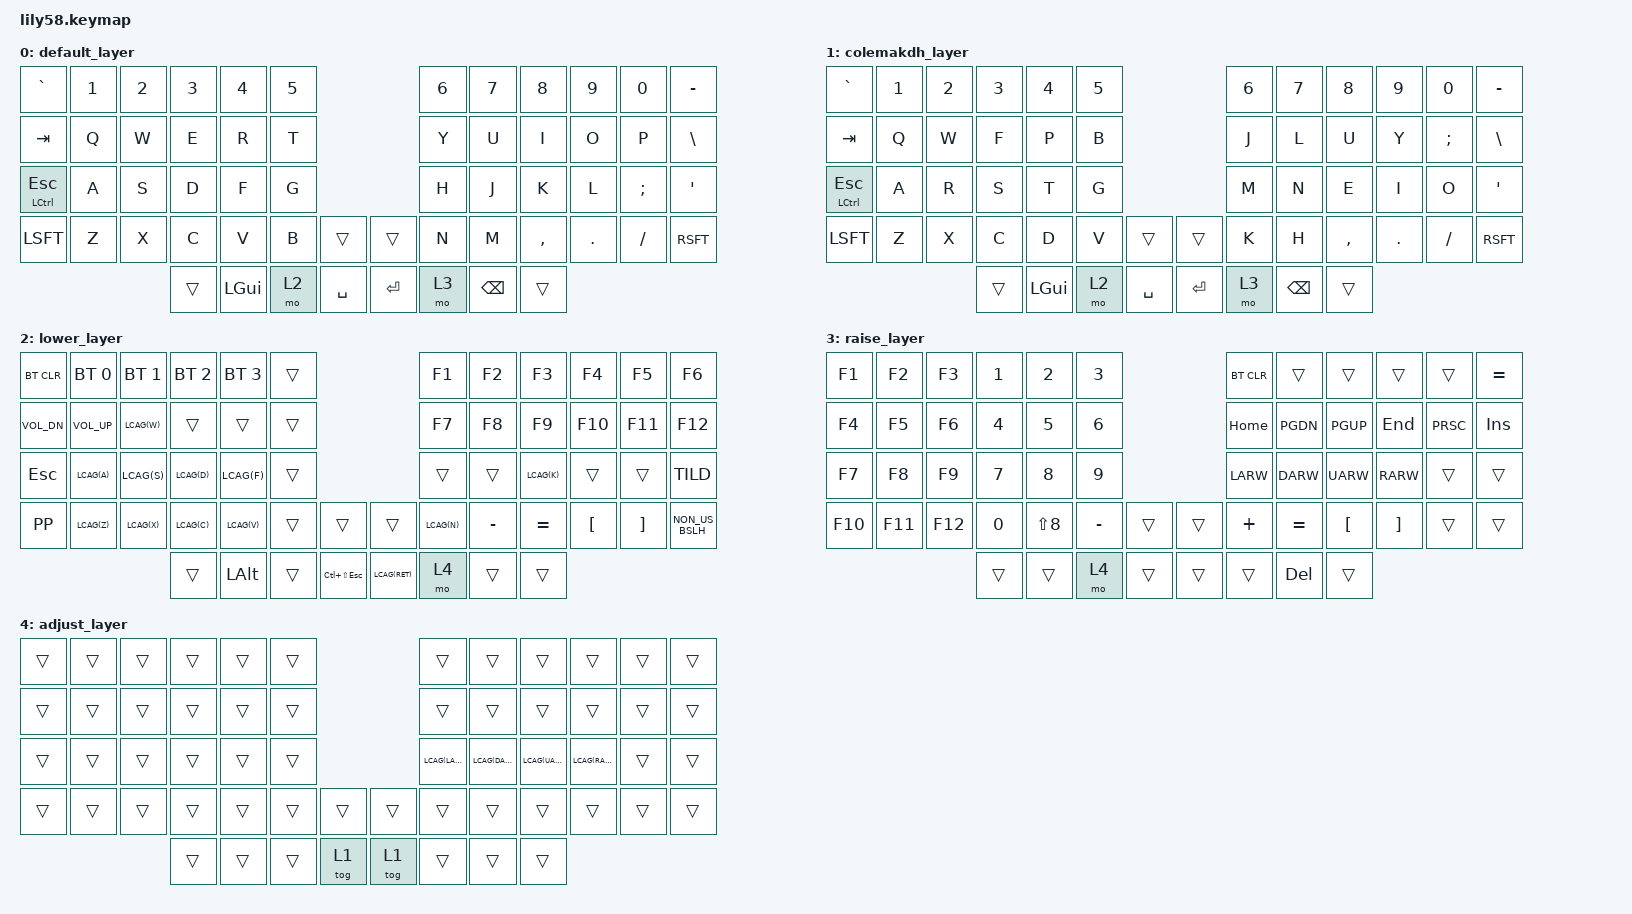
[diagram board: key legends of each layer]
#include <behaviors.dtsi>
#include <dt-bindings/zmk/keys.h>
#include <dt-bindings/zmk/bt.h>

#define LCAG(keycode) APPLY_MODS(MOD_LCTL, APPLY_MODS(MOD_LALT, APPLY_MODS(MOD_LGUI, keycode)))

//todo :
// shifted keys
// emulate CAG on lower
// mo(ctl,esc) not working
// raise - => =
// raise shift - => +
// insert
// prsc
// =## 
/ {

    combos {
        compatible = "zmk,combos";
        combo_alt {
            timeout-ms = <50>;
            key-positions = <13 25>;
            bindings = <&kp LALT>;
        };
    };

	keymap {
		compatible = "zmk,keymap";

		default_layer {
// -------------------------------------------------------------------------------------------------------------------
// |  `           |  1  |  2  |  3   |  4   |  5   |                   |  6   |  7    |  8    |  9   |   0   |   -   |
// |  TAB         |  Q  |  W  |  E   |  R   |  T   |                   |  Y   |  U    |  I    |  O   |   P   |   \   |
// |  MO(CTL,ESC) |  A  |  S  |  D   |  F   |  G   |                   |  H   |  J    |  K    |  L   |   ;   |   '   |
// | SHIFT        |  Z  |  X  |  C   |  V   |  B   |        |  |       |  N   |  M    |  ,    |  .   |   /   | SHIFT |
//                                   | GUI  | LWR  | SPACE  |  | ENTER | RAISE| BSPC  | 
			bindings = <
&kp     GRAV     &kp N1    &kp N2    &kp N3    &kp N4    &kp N5                       &kp N6    &kp N7    &kp N8    &kp N9    &kp N0    &kp MINUS
&kp     TAB      &kp Q     &kp W     &kp E     &kp R     &kp T                        &kp Y     &kp U     &kp I     &kp O     &kp P     &kp BSLH
&mt LCTL ESC     &kp A     &kp S     &kp D     &kp F     &kp G                        &kp H     &kp J     &kp K     &kp L     &kp SCLN  &kp QUOT
&kp     LSFT     &kp Z     &kp X     &kp C     &kp V     &kp B   &trans    &trans     &kp N     &kp M     &kp CMMA  &kp DOT   &kp FSLH  &kp RSFT
                                     &trans    &kp LGUI  &mo 2   &kp SPC   &kp RET    &mo 3     &kp BKSP  &trans
			>;
		};
	   	colemakdh_layer {
// ---------------------------------------------------------------------------------------------------------------
// |       |     |     |      |      |      |                   |         |        |        |         |       |      |
// |       |     |     |      |      |      |                   |         |        |        |         |       |      |
// |       |     |     |      |      |      |                   | CAG(<-) | CAG(v) | CAG(^) | CAG(->) |       |      |
// |       |     |     |      |      |      |        |  |       |         |        |        |         |       |      |
//                     |      |      |      |        |  |       |         |        |        |
			bindings = <
&kp     GRAV     &kp N1    &kp N2    &kp N3    &kp N4    &kp N5                       &kp N6    &kp N7    &kp N8    &kp N9    &kp N0    &kp MINUS
&kp     TAB      &kp Q     &kp W     &kp F     &kp P     &kp B                        &kp J     &kp L     &kp U     &kp Y     &kp SCLN  &kp BSLH
&mt LCTL ESC     &kp A     &kp R     &kp S     &kp T     &kp G                        &kp M     &kp N     &kp E     &kp I     &kp O     &kp QUOT
&kp     LSFT     &kp Z     &kp X     &kp C     &kp D     &kp V   &trans    &trans     &kp K     &kp H     &kp CMMA  &kp DOT   &kp FSLH  &kp RSFT
                                     &trans    &kp LGUI  &mo 2   &kp SPC   &kp RET    &mo 3     &kp BKSP  &trans
			>;
		};
		lower_layer {
// --------------------------------------------------------------------------------------------------------------------------------
// |  btclr | bt0    | bt1    | bt2    | bt3    |      |                        |  F1    |  F2   |  F3     |  F4  |  F5   |  F6   |
// |  V-    | V+     | CAG(W) |        |        |      |                        |  F7    |  F8   |  F9     |  F10 |  F11  |  F12  |
// |  ESC   | CAG(A) | CAG(S) | CAG(D) | CAG(F) |      |                        |        |       |  CAG(K) |      |       |   ~   |
// |  P/P   | CAG(Z) | CAG(X) | CAG(C) | CAG(V) |      |          |  |          | CAG(N) |  -    |  =      |  {   |   }   |   \   |
//                                     | NEXT   |      | CS(ESC)  |  | CAG(RET) |  ADJ   |
			bindings = <
&bt BT_CLR   &bt BT_SEL 0 &bt BT_SEL 1 &bt BT_SEL 2 &bt BT_SEL 3 &trans                                &kp F1        &kp F2    &kp F3      &kp F4   &kp F5   &kp F6
&kp K_VOL_DN &kp K_VOL_UP &kp LCAG(W)  &trans       &trans       &trans                                &kp F7        &kp F8    &kp F9      &kp F10  &kp F11  &kp F12
&kp ESC      &kp LCAG(A)  &kp LCAG(S)  &kp LCAG(D)  &kp LCAG(F)  &trans                                &trans        &trans    &kp LCAG(K) &trans   &trans   &kp TILD
&kp K_PP     &kp LCAG(Z)  &kp LCAG(X)  &kp LCAG(C)  &kp LCAG(V)  &trans     &trans   &trans            &kp LCAG(N)   &kp MINUS &kp EQL     &kp LBKT &kp RBKT &kp NON_US_BSLH
                                                    &trans       &kp LALT   &trans   &kp LC(LS(ESC))   &kp LCAG(RET) &mo 4     &trans      &trans
			>;
	       	};

		raise_layer {
// ---------------------------------------------------------------------------------------------------------------
// | F1  |  F2  |  F3  |  1   |  2  |  3  |                   |  btclr   |       |       |      |       |   =  |
// | F4  |  F5  |  F6  |  4   |  5  |  6  |                   |  PRSC    | HOME  | PGDN  | PGUP | END   | INS  |
// | F7  |  F8  |  F9  |  7   |  8  |  9  |                   |          |   <-  |   v   |  ^   |  ->   |      |
// | F10 |  F11 |  F12 |  0   |  *  |  -  |                   |  +       |   =   |   [   |  ]   |       |      |
//                            |     | ADJ |        |  |       |          | DEL   |
			bindings = <
&kp F1   &kp F2    &kp F3    &kp N1   &kp N2     &kp N3                       &bt BT_CLR &trans    &trans    &trans    &trans    &kp EQL
&kp F4   &kp F5    &kp F6    &kp N4   &kp N5     &kp N6                       &kp HOME   &kp PGDN  &kp PGUP  &kp END   &kp PRSC  &kp INS
&kp F7   &kp F8    &kp F9    &kp N7   &kp N8     &kp N9                       &kp LARW   &kp DARW  &kp UARW  &kp RARW  &trans    &trans
&kp F10  &kp F11   &kp F12   &kp N0   &kp LS(N8) &kp MINUS   &trans   &trans  &kp PLUS   &kp EQL   &kp LBKT  &kp RBKT  &trans    &trans
                   &trans    &trans   &mo 4      &trans                       &trans     &trans    &kp DEL   &trans
			>;
		};
       	adjust_layer {
// ---------------------------------------------------------------------------------------------------------------
// |       |     |     |      |      |      |                   |         |        |        |         |       |      |
// |       |     |     |      |      |      |                   |         |        |        |         |       |      |
// |       |     |     |      |      |      |                   | CAG(<-) | CAG(v) | CAG(^) | CAG(->) |       |      |
// |       |     |     |      |      |      |        |  |       |         |        |        |         |       |      |
//                     |      |      |      |        |  |       |         |        |        |
			bindings = <
&trans   &trans    &trans    &trans    &trans    &trans                       &trans         &trans         &trans         &trans         &trans    &trans
&trans   &trans    &trans    &trans    &trans    &trans                       &trans         &trans         &trans         &trans         &trans    &trans
&trans   &trans    &trans    &trans    &trans    &trans                       &kp LCAG(LARW) &kp LCAG(DARW) &kp LCAG(UARW) &kp LCAG(RARW) &trans    &trans
&trans   &trans    &trans    &trans    &trans    &trans    &trans   &trans    &trans         &trans         &trans         &trans         &trans    &trans
                   &trans    &trans    &trans    &tog 1                       &tog 1         &trans         &trans         &trans
			>;
		};
    };
    combos {
        compatible = "zmk,combos";
        combo_n1 {
            timeout-ms = <50>;
            key-positions = <13 25>; //q a
            bindings = <&kp N1>;
        };
        combo_alt {
            timeout-ms = <50>;
            key-positions = <49 50>; //lgui lwr
            bindings = <&kp LALT>;
        };
        combo_ctrl {
            timeout-ms = <50>;
            key-positions = <53 54>; //rse bsp
            bindings = <&kp LCTL>;
        };
    };
};
